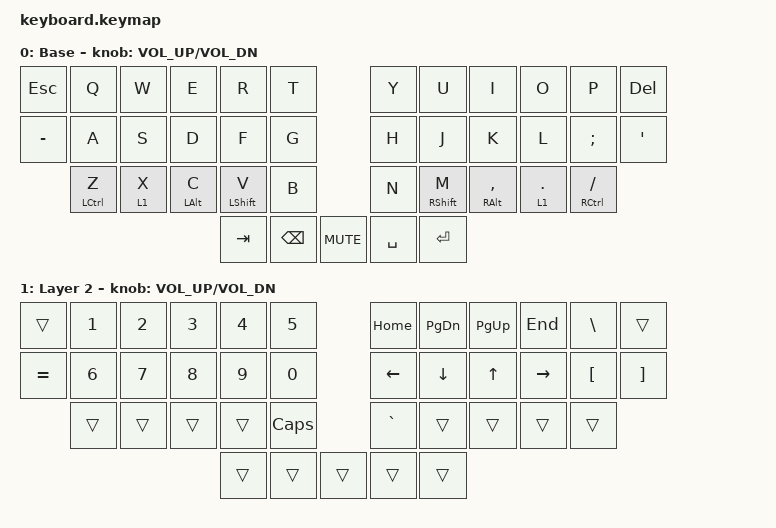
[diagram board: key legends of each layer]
#include <behaviors.dtsi>
#include <dt-bindings/zmk/keys.h>
#include <dt-bindings/zmk/outputs.h>

/ {
    behaviors {
        /* Mod on hold, key on tap. tap-preferred == "prefer_hold=false". */
        hm: homerow_mod {
            compatible = "zmk,behavior-hold-tap";
            display-name = "Homerow Mod";
            #binding-cells = <2>;
            flavor = "tap-preferred";
            tapping-term-ms = <175>;
            bindings = <&kp>, <&kp>;
        };

        /* Layer on hold, key on tap. Same timing as above. */
        hl: homerow_layer {
            compatible = "zmk,behavior-hold-tap";
            display-name = "Homerow Layer";
            #binding-cells = <2>;
            flavor = "tap-preferred";
            tapping-term-ms = <175>;
            bindings = <&mo>, <&kp>;
        };
    };

    keymap {
        compatible = "zmk,keymap";

        base_layer {
            display-name = "Base";
            bindings = <
                &kp ESC         &kp Q           &kp W           &kp E           &kp R           &kp T           &kp Y           &kp U           &kp I           &kp O           &kp P           &kp DEL
                &kp MINUS       &kp A           &kp S           &kp D           &kp F           &kp G           &kp H           &kp J           &kp K           &kp L           &kp SEMI        &kp SQT
                &hm LCTRL Z     &hl 1 X         &hm LALT C      &hm LSHFT V     &kp B           &kp N           &hm RSHFT M     &hm RALT COMMA  &hl 1 DOT       &hm RCTRL FSLH
                &kp TAB         &kp BSPC        &kp C_MUTE      &kp SPACE       &kp RET
            >;
            sensor-bindings = <&inc_dec_kp C_VOL_UP C_VOL_DN>;
        };

        layer_2 {
            display-name = "Layer 2";
            bindings = <
                &trans          &kp N1          &kp N2          &kp N3          &kp N4          &kp N5          &kp HOME        &kp PG_DN       &kp PG_UP       &kp END         &kp BSLH        &trans
                &kp EQUAL       &kp N6          &kp N7          &kp N8          &kp N9          &kp N0          &kp LEFT        &kp DOWN        &kp UP          &kp RIGHT       &kp LBKT        &kp RBKT
                &trans          &trans          &trans          &trans          &kp CAPS        &kp GRAVE       &trans          &trans          &trans          &trans
                &trans          &trans          &trans          &trans          &trans
            >;
            sensor-bindings = <&inc_dec_kp C_VOL_UP C_VOL_DN>;
        };
    };
};
